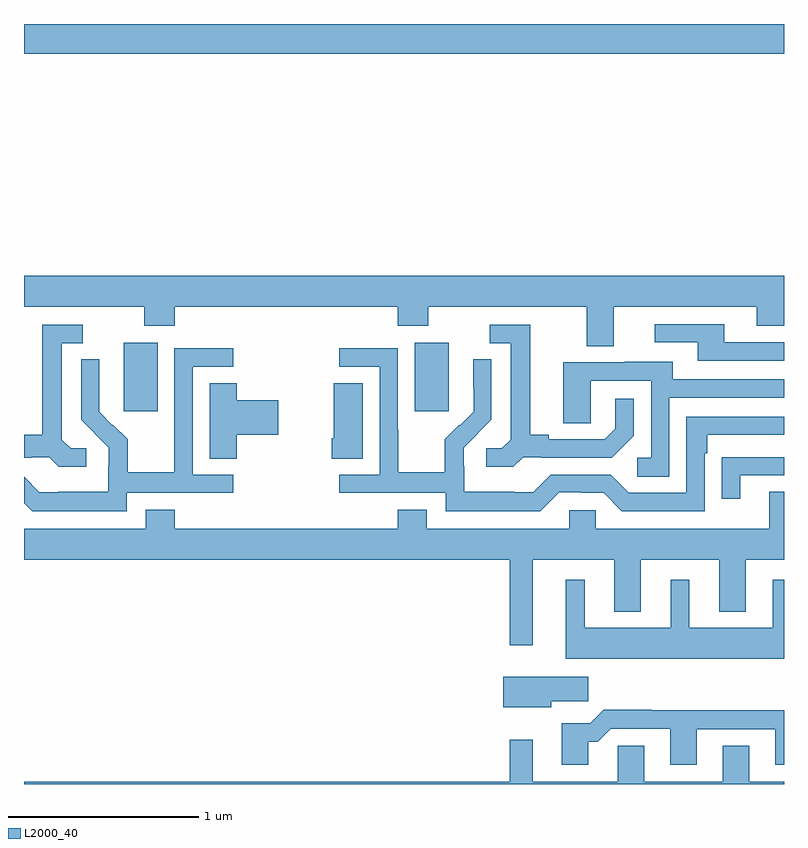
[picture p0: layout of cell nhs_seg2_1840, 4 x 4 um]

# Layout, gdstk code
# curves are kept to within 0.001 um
import gdstk
lib = gdstk.Library(unit=1e-6, precision=1e-09)
def R(c, l, rs):  # rectangles x0, y0, x1, y1
    for r in rs: c.add(gdstk.rectangle(r[:2], r[2:], *l))
def P(c, l, *ps):  # polygons
    for p in ps: c.add(gdstk.Polygon(p, *l))
L2000_40 = (2000, 40)

nhs_seg2_1840 = lib.new_cell('nhs_seg2_1840')
R(nhs_seg2_1840, L2000_40, [(207.524,637.761,207.703,638.122), (209.057,637.761,209.236,638.122), (207,639.644,211,639.8)])
P(nhs_seg2_1840, L2000_40, [(210.103,638.312),(210.857,638.312),(210.857,638.213),(211,638.213),(211,638.476),(207,638.476),(207,638.312),(207.634,638.312),(207.634,638.213),(207.794,638.213),(207.794,638.312),(208.967,638.312),(208.967,638.213),(209.127,638.213),(209.127,638.312),(209.963,638.312),(209.963,638.104),(210.103,638.104)],
  [(211,638.124),(210.685,638.124),(210.685,638.22),(210.321,638.22),(210.321,638.124),(210.545,638.124),(210.545,638.028),(211,638.028)],
  [(207.328,637.566),(207.246,637.566),(207.199,637.613),(207.199,638.121),(207.31,638.121),(207.31,638.217),(207.095,638.217),(207.095,637.637),(207,637.637),(207,637.518),(207.038,637.518),(207.038,637.521),(207.132,637.521),(207.184,637.469),(207.328,637.469)],
  [(209.628,637.521),(209.722,637.521),(209.722,637.518),(210.094,637.518),(210.21,637.634),(210.21,637.828),(210.113,637.828),(210.113,637.671),(210.056,637.614),(209.761,637.614),(209.761,637.637),(209.665,637.637),(209.665,638.217),(209.451,638.217),(209.451,638.121),(209.561,638.121),(209.561,637.613),(209.514,637.566),(209.433,637.566),(209.433,637.469),(209.576,637.469)],
  [(209.817,637.335),(209.933,637.335),(209.933,637.332),(210.051,637.332),(210.147,637.236),(210.582,637.236),(210.582,637.541),(210.595,637.541),(210.595,637.638),(211,637.638),(211,637.734),(210.486,637.734),(210.486,637.332),(210.183,637.332),(210.087,637.428),(209.772,637.428),(209.679,637.335),(209.579,637.335),(209.579,637.339),(209.316,637.339),(209.316,637.473),(209.314,637.473),(209.314,637.57),(209.46,637.718),(209.46,638.036),(209.364,638.036),(209.364,637.882),(209.366,637.882),(209.366,637.76),(209.295,637.689),(209.292,637.692),(209.215,637.615),(209.215,637.441),(208.971,637.441),(208.971,637.664),(208.968,637.664),(208.968,638.094),(208.659,638.094),(208.659,637.995),(208.872,637.995),(208.872,637.428),(208.659,637.428),(208.659,637.332),(209.22,637.332),(209.22,637.235),(209.717,637.235)],
  [(207.54,637.332),(208.102,637.332),(208.102,637.428),(207.888,637.428),(207.888,637.995),(208.102,637.995),(208.102,638.094),(207.792,638.094),(207.792,637.664),(207.79,637.664),(207.79,637.441),(207.545,637.441),(207.545,637.615),(207.468,637.692),(207.465,637.689),(207.395,637.76),(207.396,638.036),(207.3,638.036),(207.3,637.718),(207.446,637.57),(207.446,637.473),(207.444,637.473),(207.444,637.339),(207.181,637.339),(207.181,637.335),(207.081,637.335),(207,637.416),(207,637.278),(207.043,637.235),(207.54,637.235)],
  [(210.396,637.833),(211,637.833),(211,637.929),(210.415,637.929),(210.415,638.023),(210.161,638.023),(210.161,638.019),(209.837,638.019),(209.837,637.699),(209.982,637.699),(209.982,637.923),(210.3,637.923),(210.3,637.518),(210.228,637.518),(210.228,637.417),(210.396,637.417)],
  [(208.121,637.637),(208.339,637.637),(208.339,637.82),(208.121,637.82),(208.121,637.91),(207.977,637.91),(207.977,637.513),(208.121,637.513)],
  [(208.783,637.91),(208.631,637.91),(208.631,637.621),(208.619,637.621),(208.619,637.513),(208.783,637.513)],
  [(210.769,637.425),(211,637.425),(211,637.521),(210.775,637.521),(210.775,637.52),(210.673,637.52),(210.673,637.302),(210.769,637.302)],
  [(209.556,636.531),(209.677,636.531),(209.677,636.98),(210.107,636.98),(210.107,636.707),(210.247,636.707),(210.247,636.98),(210.659,636.98),(210.659,636.707),(210.799,636.707),(210.799,636.98),(211,636.98),(211,637.339),(210.923,637.339),(210.923,637.144),(210.009,637.144),(210.009,637.242),(209.871,637.242),(209.871,637.144),(209.119,637.144),(209.119,637.243),(208.967,637.243),(208.967,637.144),(207.794,637.144),(207.794,637.243),(207.641,637.243),(207.641,637.144),(207,637.144),(207,636.98),(209.556,636.98)],
  [(211,636.874),(210.941,636.874),(210.941,636.622),(210.502,636.622),(210.502,636.874),(210.404,636.874),(210.404,636.622),(209.95,636.622),(209.95,636.874),(209.852,636.874),(209.852,636.458),(211,636.458)],
  [(209.776,636.235),(209.971,636.235),(209.971,636.364),(209.522,636.364),(209.522,636.203),(209.776,636.203)],
  [(209.971,636.023),(210.02,636.023),(210.087,636.09),(210.401,636.09),(210.401,635.901),(210.541,635.901),(210.541,636.087),(210.953,636.087),(210.953,635.901),(211,635.901),(211,636.188),(210.305,636.188),(210.305,636.191),(210.05,636.191),(209.98,636.121),(209.831,636.121),(209.831,635.901),(209.971,635.901)],
  [(211,635.812),(210.817,635.812),(210.817,636.002),(210.677,636.002),(210.677,635.812),(210.265,635.812),(210.265,636.002),(210.126,636.002),(210.126,635.812),(209.677,635.812),(209.677,636.034),(209.556,636.034),(209.556,635.812),(207,635.812),(207,635.8),(211,635.8)])

lib.write_gds('nhs_seg2_1840.gds')
